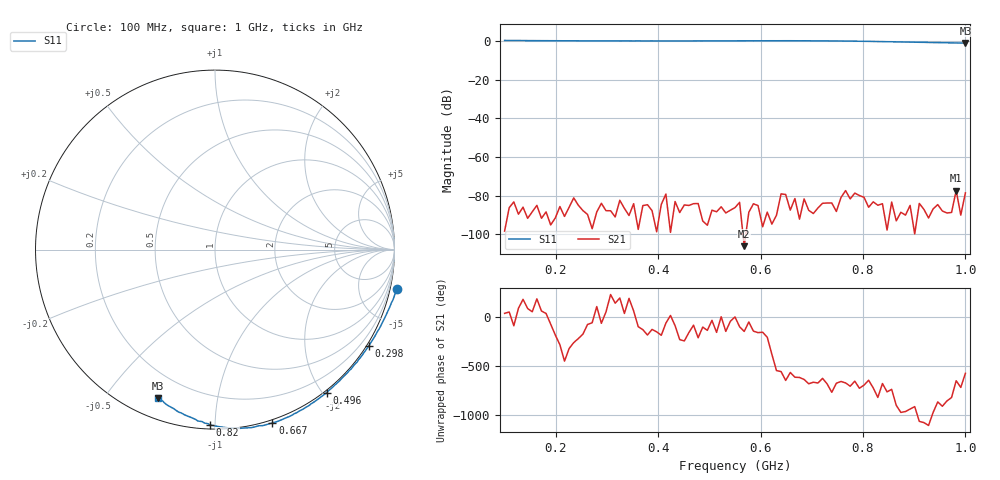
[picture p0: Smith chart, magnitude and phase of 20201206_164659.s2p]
# HZ S RI R 50
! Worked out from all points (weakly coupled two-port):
!   101 points, 100 MHz to 1 GHz, reference 50 ohm
!   highest |S21| = -77.29 dB at 982 MHz (marker M1); lowest = -106.0 dB at 568 MHz (marker M2)
!   lowest |S11| = -1.0 dB at 1 GHz (marker M3), VSWR 16.57, Z = 4.43 - j34.1 ohm
!   |S11| at or under -10 dB: nowhere
!   S12 and S22 are empty: the file has one direction only
!   S11 on the Smith chart (normalised r, x): 100 MHz: -1.52, -9.08; 298 MHz: -0.07, -3.49; 496 MHz: -0.03, -2.05; 667 MHz: -0.02, -1.38; 820 MHz: 0.02, -0.97; 1 GHz: 0.09, -0.68
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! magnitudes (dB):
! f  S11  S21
! 100 MHz  0.3  -98.2
! 253 MHz  0.1  -87.7
! 298 MHz  0.1  -87.7
! 406 MHz  0.1  -84.5
! 415 MHz  0.1  -79.1
! 496 MHz  0.1  -95.2
! 550 MHz  0.1  -86.1
! 568 MHz  0.1  -106.0
! 640 MHz  0.2  -79.0
! 667 MHz  0.1  -81.4
! 703 MHz  0.1  -89.2
! 757 MHz  0.0  -80.9
! 766 MHz  0.0  -77.3
! 775 MHz  0.0  -81.6
! 784 MHz  -0.1  -78.6
! 793 MHz  -0.1  -79.9
! 820 MHz  -0.2  -83.1
! 856 MHz  -0.4  -83.2
! 973 MHz  -0.9  -88.6
! 982 MHz  -1.0  -77.3
! 991 MHz  -1.0  -90.0
! 1 GHz  -1.0  -78.5
